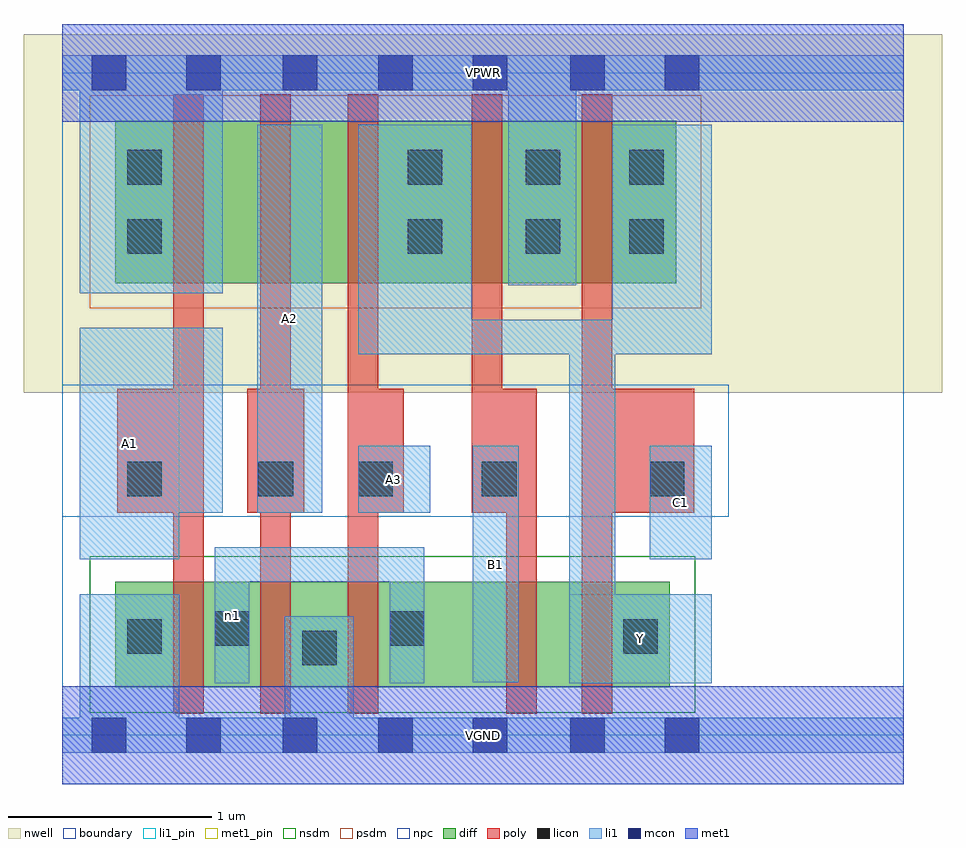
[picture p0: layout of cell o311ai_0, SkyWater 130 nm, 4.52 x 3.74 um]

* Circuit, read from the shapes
.subckt o311ai_0 A1 A2 A3 B1 C1 VGND VPWR Y n1
XM1 n1 A1 VGND VSUBS sky130_fd_pr__nfet_01v8 w=0.52 l=0.15
XM2 VGND A2 n1 VSUBS sky130_fd_pr__nfet_01v8 w=0.52 l=0.15
XM3 n1 A3 VGND VSUBS sky130_fd_pr__nfet_01v8 w=0.52 l=0.15
XM4 n2 B1 n1 VSUBS sky130_fd_pr__nfet_01v8 w=0.52 l=0.15
XM5 Y C1 n2 VSUBS sky130_fd_pr__nfet_01v8 w=0.52 l=0.15
XM6 n3 A1 VPWR n4 sky130_fd_pr__pfet_01v8 w=0.8 l=0.15
XM7 n5 A2 n3 n4 sky130_fd_pr__pfet_01v8 w=0.8 l=0.15
XM8 Y A3 n5 n4 sky130_fd_pr__pfet_01v8 w=0.8 l=0.15
XM9 VPWR B1 Y n4 sky130_fd_pr__pfet_01v8 w=0.8 l=0.15
XM10 Y C1 VPWR n4 sky130_fd_pr__pfet_01v8 w=0.8 l=0.15
.ends

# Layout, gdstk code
import gdstk
lib = gdstk.Library(unit=1e-6, precision=1e-09)
def R(c, l, rs):  # rectangles x0, y0, x1, y1
    for r in rs: c.add(gdstk.rectangle(r[:2], r[2:], *l))
def A(c, l, x, y, w, h, nx, ny, dx, dy):  # array of equal rectangles
    R(c, l, [(x+i*dx, y+j*dy, x+i*dx+w, y+j*dy+h) for i in range(nx) for j in range(ny)])
nwell = (64, 20)
diff = (65, 20)
poly = (66, 20)
licon = (66, 44)
li1_pin = (67, 16)
li1 = (67, 20)
mcon = (67, 44)
met1_pin = (68, 16)
met1 = (68, 20)
nsdm = (93, 44)
psdm = (94, 20)
npc = (95, 20)
boundary = (235, 4)

o311ai_0 = lib.new_cell('o311ai_0')
R(o311ai_0, nwell, [(-0.19,1.685,4.33,3.45), (0,1.685,4.14,3.45)])
R(o311ai_0, diff, [(0.26,0.235,2.99,0.755), (0.26,2.225,3.02,3.025)])
A(o311ai_0, poly, 0.545, 0.105, 0.15, 3.05, 3, 1, 0.43, 0)
R(o311ai_0, poly, [(2.185,0.105,2.335,1.705), (2.555,0.105,2.705,3.155), (0.27,1.095,0.695,1.705), (0.91,1.095,1.19,1.705), (1.405,1.095,1.68,1.705), (2.015,1.095,2.165,3.155), (2.015,1.095,2.335,1.705), (2.555,1.095,3.11,1.705)])
R(o311ai_0, licon, [(1.18,0.345,1.35,0.515), (0.32,0.4,0.49,0.57), (2.76,0.4,2.93,0.57), (0.75,0.44,0.92,0.61), (1.61,0.44,1.78,0.61), (0.32,1.175,0.49,1.345), (0.965,1.175,1.135,1.345), (1.455,1.175,1.625,1.345), (2.065,1.175,2.235,1.345), (2.89,1.175,3.06,1.345), (0.32,2.37,0.49,2.54), (1.7,2.37,1.87,2.54), (2.28,2.37,2.45,2.54), (2.79,2.37,2.96,2.54), (0.32,2.71,0.49,2.88), (1.7,2.71,1.87,2.88), (2.28,2.71,2.45,2.88), (2.79,2.71,2.96,2.88)])
R(o311ai_0, li1_pin, [(2.495,0.255,3.195,0.695), (2.02,0.26,2.245,1.425), (0.085,0.865,0.575,2.005), (2.89,0.865,3.195,1.425), (0.96,1.095,1.28,3.005), (1.455,1.095,1.81,1.425)])
R(o311ai_0, li1, [(0,-0.085,4.14,0.085), (0.085,-0.085,0.575,0.695), (1.095,-0.085,1.435,0.585), (0.75,0.255,0.92,0.925), (1.61,0.255,1.78,0.925), (2.495,0.255,2.72,2.045), (2.495,0.255,3.195,0.695), (2.02,0.26,2.245,1.425), (0.75,0.755,1.78,0.925), (0.085,0.865,0.575,2.005), (2.89,0.865,3.195,1.425), (0.085,1.095,0.79,2.005), (0.96,1.095,1.28,3.005), (1.455,1.095,1.81,1.425), (1.455,1.875,2.015,3.005), (1.455,1.875,3.195,2.045), (2.705,1.875,3.195,3.005), (0.085,2.175,0.79,3.345), (2.195,2.215,2.53,3.345), (0,3.175,4.14,3.345)])
R(o311ai_0, mcon, [(0.145,-0.085,0.315,0.085), (0.61,-0.085,0.78,0.085), (1.085,-0.085,1.255,0.085), (1.555,-0.085,1.725,0.085), (2.02,-0.085,2.19,0.085), (2.5,-0.085,2.67,0.085), (2.965,-0.085,3.135,0.085), (0.145,3.175,0.315,3.345), (0.61,3.175,0.78,3.345), (1.085,3.175,1.255,3.345), (1.555,3.175,1.725,3.345), (2.02,3.175,2.19,3.345), (2.5,3.175,2.67,3.345), (2.965,3.175,3.135,3.345)])
R(o311ai_0, met1_pin, [(0,-0.24,4.14,0.24), (0,3.02,4.14,3.5)])
R(o311ai_0, met1, [(0,-0.24,4.14,0.24), (0,3.02,4.14,3.5)])
R(o311ai_0, nsdm, [(0.135,0.11,3.115,0.88)])
R(o311ai_0, psdm, [(0.135,2.1,3.145,3.15)])
R(o311ai_0, npc, [(0,1.075,3.28,1.725)])
R(o311ai_0, boundary, [(0,0,4.14,3.26)])
o311ai_0.add(gdstk.Label('A1', (0.33,1.435), layer=67, texttype=5))
o311ai_0.add(gdstk.Label('A2', (1.12,2.05), layer=67, texttype=5))
o311ai_0.add(gdstk.Label('A3', (1.632,1.26), layer=67, texttype=5))
o311ai_0.add(gdstk.Label('B1', (2.132,0.842), layer=67, texttype=5))
o311ai_0.add(gdstk.Label('C1', (3.042,1.145), layer=67, texttype=5))
o311ai_0.add(gdstk.Label('Y', (2.845,0.475), layer=67, texttype=5))
o311ai_0.add(gdstk.Label('n1', (0.835,0.59), layer=67, texttype=5))
o311ai_0.add(gdstk.Label('VPWR', (2.07,3.26), layer=68, texttype=5))
o311ai_0.add(gdstk.Label('VGND', (2.07,0), layer=68, texttype=5))
o311ai_0.add(gdstk.Label('A1', (0.33,1.435), layer=67, texttype=16))
o311ai_0.add(gdstk.Label('A2', (1.12,2.05), layer=67, texttype=16))
o311ai_0.add(gdstk.Label('A3', (1.632,1.26), layer=67, texttype=16))
o311ai_0.add(gdstk.Label('B1', (2.132,0.842), layer=67, texttype=16))
o311ai_0.add(gdstk.Label('C1', (3.042,1.145), layer=67, texttype=16))
o311ai_0.add(gdstk.Label('Y', (2.845,0.475), layer=67, texttype=16))
o311ai_0.add(gdstk.Label('VPWR', (2.07,3.26), layer=68, texttype=16))
o311ai_0.add(gdstk.Label('VGND', (2.07,0), layer=68, texttype=16))

lib.write_gds('o311ai_0.gds')
